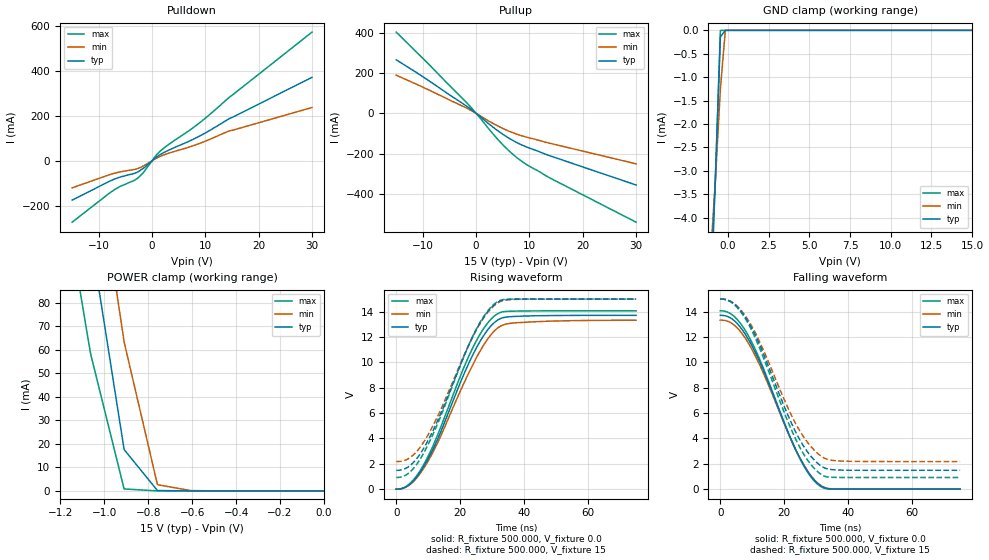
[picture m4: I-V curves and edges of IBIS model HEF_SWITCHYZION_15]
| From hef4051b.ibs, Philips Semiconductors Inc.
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|   Model HEF_SWITCHYZION_15
[Model]   HEF_SWITCHYZION_15
Model_type   I/O
Polarity   Non-Inverting
Enable   Active-High
Vinl  =  11V
Vinh  =  4V
Vmeas =  7.5V
Cref  =  50.0pF
Rref  =  10k
Vref  =  0.0V
C_comp   19.4E-12   17.2E-12   21.4E-12
|Ambient temperature:   25   85   -40
[Temperature Range]   35   95   -30
[Voltage Range]   15V   15V   15V
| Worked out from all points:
|   slope of the pulldown table from 0 to 2.25 V, typ, clamps not added: 60.9 ohm
|   slope of the pullup table from 0 to 2.25 V, typ, clamps not added: 46 ohm
|   POWER clamp passes 1 mA (typ) near -0.76 V on its own axis
|   rising waveform, R_fixture 500.000, V_fixture 0.0: 20-80 % time 14ns typ, 14.8ns min, 13.7ns max; typ from 0 V to 13.7 V
|   rising waveform, R_fixture 500.000, V_fixture 15: 20-80 % time 13.8ns typ, 13.8ns min, 13.8ns max; typ from 1.49 V to 15 V
|   falling waveform, R_fixture 500.000, V_fixture 0.0: 20-80 % time 13.7ns typ, 13.8ns min, 13.6ns max; typ from 13.7 V to 0 V
|   falling waveform, R_fixture 500.000, V_fixture 15: 20-80 % time 13.6ns typ, 13.8ns min, 13.5ns max; typ from 15 V to 1.49 V
|Process Range   nominal   slow   fast
[Pulldown]
| voltage   I(typ)   I(min)   I(max)
-15V      -174.9mA   -120.5mA   -273mA
-7V       -80.88mA   -55.09mA   -127.6mA
-2.75V    -50.43mA   -35.09mA   -78.12mA
-1.75V    -35.79mA   -24.35mA   -55.45mA
500mV     10.3mA     7.153mA    16.26mA
1.75V     30.7mA     21.71mA    47.38mA
8.75V     107.5mA    75.43mA    165.5mA
14.5V     186.9mA    132.3mA    282mA
30V       370.2mA    236.3mA    571.2mA
[Pullup]
| voltage   I(typ)   I(min)   I(max)
-15V      265.8mA    189.5mA    403mA
-11V      199.4mA    142.3mA    298.8mA
-2V       39.87mA    29.1mA     59.37mA
1V        -20.92mA   -15.66mA   -30.46mA
4.25V     -89.36mA   -64.74mA   -134mA
6V        -120.1mA   -86.16mA   -181.2mA
7.75V     -146mA     -103.9mA   -221.3mA
9.75V     -169.4mA   -119.6mA   -257.9mA
14V       -211.5mA   -148.9mA   -322.1mA
30V       -354.7mA   -249.7mA   -538.9mA
[GND_Clamp]
| voltage   I(typ)   I(min)   I(max)
-15V      -13.03A    -13.09A    -12.98A
-1.061V   -5.406mA   -4.85mA    -6.092mA
-757.6mV  -3.174mA   -3.181mA   -3.096mA
-454.5mV  -138.6uA   -1.258mA   -2.361uA
-151.5mV  -212.9pA   -32.73nA   -284fA
15V       820.4fA    32.04pA    720fA
[POWER_Clamp]
| voltage   I(typ)   I(min)   I(max)
-15V      12.33A     12.33A     12.42A
-1.212V   184.3mA    226.5mA    141.9mA
-1.061V   108mA      158.8mA    58.08mA
-909.1mV  17.59mA    63.35mA    846.1uA
-757.6mV  163.9uA    2.653mA    6.868uA
-606.1mV  27.38uA    143uA      14.96nA
0V        749.8fA    28.18pA    660fA
[Ramp]
| variable   typ   min   max
dV/dt_r   8.230/14.036E-09   7.999/14.754E-09   8.443/13.724E-09
dV/dt_f   8.230/13.703E-09   8.003/13.840E-09   8.443/13.576E-09
R_load = 500.000
[Rising Waveform]
R_fixture   = 500.000
V_fixture   = 0.0
V_fixture_min = 0.0
V_fixture_max = 0.0
| time   V(typ)   V(min)   V(max)
0s        11.48pV    117.1pV    6.577pV
3.788ns   296.8mV    264.7mV    337.8mV
8.333ns   1.676V     1.546V     1.814V
12.88ns   3.898V     3.624V     4.235V
23.49ns   10.35V     9.586V     10.92V
27.27ns   12.09V     11.34V     12.65V
31.06ns   13.22V     12.57V     13.73V
33.33ns   13.53V     12.95V     14V
37.12ns   13.63V     13.12V     14.05V
75ns      13.72V     13.33V     14.07V
[Rising Waveform]
R_fixture   = 500.000
V_fixture   = 15
V_fixture_min = 15
V_fixture_max = 15
| time   V(typ)   V(min)   V(max)
0s        1.488V     2.178V     920mV
3.788ns   1.757V     2.401V     1.243V
8.333ns   3.112V     3.611V     2.728V
13.64ns   5.796V     6.113V     5.585V
20.46ns   10.04V     10.12V     10.03V
24.24ns   12.19V     12.18V     12.22V
28.03ns   13.81V     13.76V     13.87V
31.06ns   14.63V     14.57V     14.69V
36.36ns   14.98V     14.97V     14.99V
75ns      15V        15V        15V
[Falling Waveform]
R_fixture   = 500.000
V_fixture   = 0.0
V_fixture_min = 0.0
V_fixture_max = 0.0
| time   V(typ)   V(min)   V(max)
0s        13.72V     13.34V     14.07V
3.788ns   13.42V     13.06V     13.75V
8.333ns   12.02V     11.72V     12.31V
12.88ns   9.75V      9.501V     9.917V
20.46ns   4.948V     4.89V      4.961V
24.24ns   2.783V     2.793V     2.742V
28.03ns   1.136V     1.176V     1.078V
31.06ns   317.4mV    359.3mV    271.4mV
35.61ns   13.53mV    24.79mV    5.252mV
75ns      7.879uV    57.48uV    179.7nV
[Falling Waveform]
R_fixture   = 500.000
V_fixture   = 15
V_fixture_min = 15
V_fixture_max = 15
| time   V(typ)   V(min)   V(max)
0s        15V        15V        15V
3.788ns   14.72V     14.75V     14.69V
8.333ns   13.38V     13.49V     13.25V
12.12ns   11.51V     11.74V     11.24V
23.49ns   4.565V     5.222V     4.001V
27.27ns   2.948V     3.704V     2.306V
31.06ns   1.916V     2.693V     1.253V
33.33ns   1.611V     2.364V     970.7mV
37.88ns   1.504V     2.214V     923.2mV
75ns      1.488V     2.178V     920mV
